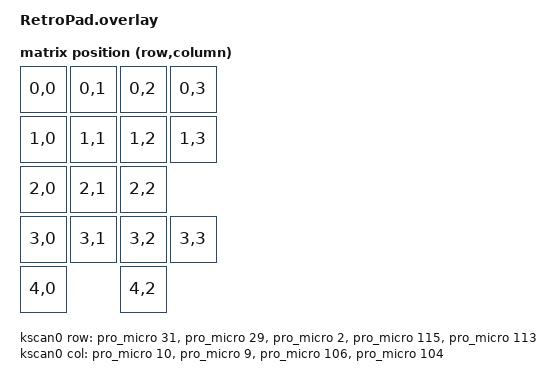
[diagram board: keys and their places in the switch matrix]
// #include "RetroPad.dtsi"

/ {
        chosen {
        zmk,kscan = &kscan0;
        zmk,matrix_transform = &default_transform;
        };

        default_transform: keymap_transform_0 {
                compatible = "zmk,matrix-transform";
                columns = <4>;
                rows = <5>;
                map = <
                RC(0,0) RC(0,1) RC(0,2) RC(0,3)
                RC(1,0) RC(1,1) RC(1,2) RC(1,3)
                RC(2,0) RC(2,1) RC(2,2) 
                RC(3,0) RC(3,1) RC(3,2) RC(3,3)
                RC(4,0)         RC(4,2) 
                >;
        };

        kscan0: kscan {
                compatible = "zmk,kscan-gpio-matrix";
                label = "default_kscan";
                diode-direction = "col2row";

                row-gpios = <&pro_micro  31 (GPIO_ACTIVE_HIGH | GPIO_PULL_DOWN)>,
                            <&pro_micro  29 (GPIO_ACTIVE_HIGH | GPIO_PULL_DOWN)>,
                            <&pro_micro   2 (GPIO_ACTIVE_HIGH | GPIO_PULL_DOWN)>,
                            <&pro_micro 115 (GPIO_ACTIVE_HIGH | GPIO_PULL_DOWN)>,
                            <&pro_micro 113 (GPIO_ACTIVE_HIGH | GPIO_PULL_DOWN)>;

                col-gpios = <&pro_micro  10 GPIO_ACTIVE_HIGH>,
                            <&pro_micro   9 GPIO_ACTIVE_HIGH>,
                            <&pro_micro 106 GPIO_ACTIVE_HIGH>,
                           <&pro_micro 104 GPIO_ACTIVE_HIGH>;
        };
};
